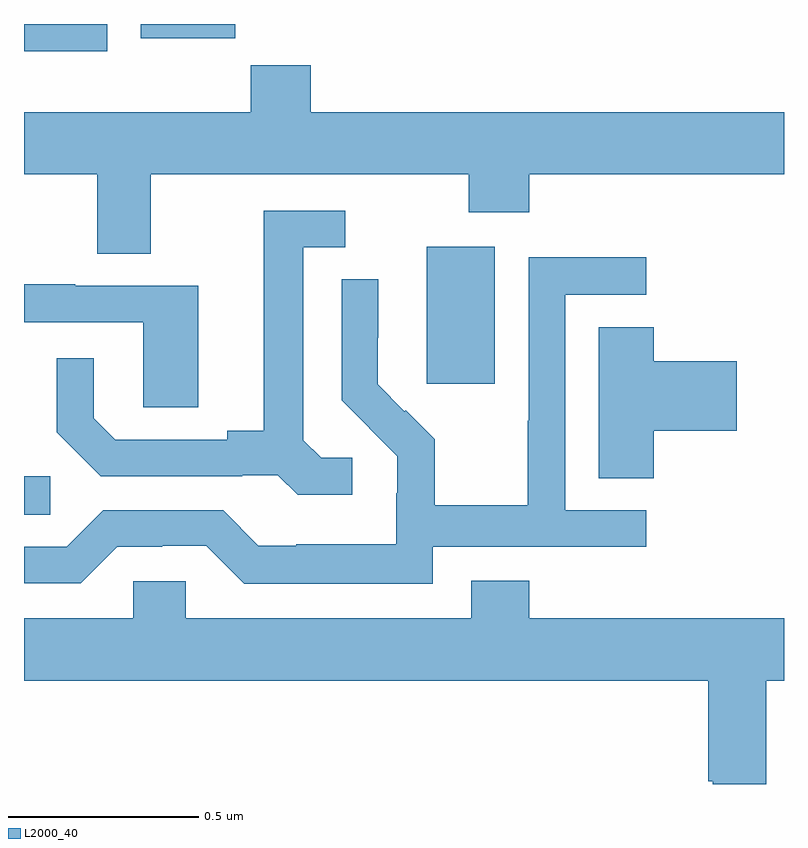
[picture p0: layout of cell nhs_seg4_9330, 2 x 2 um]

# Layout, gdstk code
import gdstk
lib = gdstk.Library(unit=1e-6, precision=1e-09)
def R(c, l, rs):  # rectangles x0, y0, x1, y1
    for r in rs: c.add(gdstk.rectangle(r[:2], r[2:], *l))
def P(c, l, *ps):  # polygons
    for p in ps: c.add(gdstk.Polygon(p, *l))
L2000_40 = (2000, 40)

nhs_seg4_9330 = lib.new_cell('nhs_seg4_9330')
R(nhs_seg4_9330, L2000_40, [(226,778.609,226.069,778.71), (227.06,778.953,227.239,779.314), (226,779.828,226.219,779.9), (226.307,779.862,226.556,779.9)])
P(nhs_seg4_9330, L2000_40, [(227.17,779.405),(227.33,779.405),(227.33,779.504),(228,779.504),(228,779.668),(226.754,779.668),(226.754,779.792),(226.597,779.792),(226.597,779.668),(226,779.668),(226,779.504),(226.193,779.504),(226.193,779.296),(226.333,779.296),(226.333,779.504),(227.17,779.504)],
  [(226.864,778.758),(226.782,778.758),(226.735,778.805),(226.735,779.313),(226.846,779.313),(226.846,779.409),(226.631,779.409),(226.631,778.829),(226.535,778.829),(226.535,778.806),(226.24,778.806),(226.183,778.863),(226.183,779.02),(226.086,779.02),(226.086,778.826),(226.202,778.71),(226.574,778.71),(226.574,778.713),(226.668,778.713),(226.72,778.661),(226.864,778.661)],
  [(227.076,778.524),(227.638,778.524),(227.638,778.62),(227.424,778.62),(227.424,779.187),(227.638,779.187),(227.638,779.286),(227.328,779.286),(227.328,778.856),(227.326,778.856),(227.326,778.633),(227.081,778.633),(227.081,778.807),(227.004,778.884),(227.001,778.881),(226.931,778.952),(226.931,779.074),(226.932,779.074),(226.932,779.228),(226.836,779.228),(226.836,778.91),(226.909,778.837),(226.908,778.836),(226.982,778.762),(226.982,778.665),(226.98,778.665),(226.98,778.531),(226.717,778.531),(226.717,778.527),(226.617,778.527),(226.524,778.62),(226.209,778.62),(226.113,778.524),(226,778.524),(226,778.428),(226.149,778.428),(226.245,778.524),(226.364,778.524),(226.364,778.527),(226.479,778.527),(226.579,778.427),(227.076,778.427)],
  [(226.459,779.211),(226.135,779.211),(226.135,779.215),(226,779.215),(226,779.115),(226.314,779.115),(226.314,778.891),(226.459,778.891)],
  [(227.657,778.829),(227.875,778.829),(227.875,779.012),(227.657,779.012),(227.657,779.102),(227.513,779.102),(227.513,778.705),(227.657,778.705)],
  [(227.953,778.172),(228,778.172),(228,778.336),(227.33,778.336),(227.33,778.435),(227.177,778.435),(227.177,778.336),(226.425,778.336),(226.425,778.434),(226.287,778.434),(226.287,778.336),(226,778.336),(226,778.172),(227.801,778.172),(227.801,777.907),(227.813,777.907),(227.813,777.9),(227.953,777.9)])

lib.write_gds('nhs_seg4_9330.gds')
